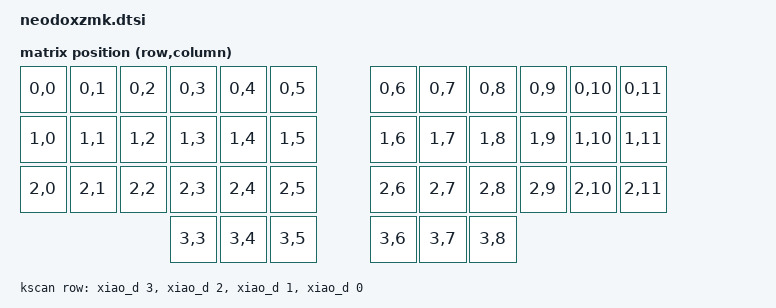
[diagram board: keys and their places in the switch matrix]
#include <dt-bindings/zmk/matrix_transform.h>

#include "neodoxzmk-layouts.dtsi"

// Pinout per NeodoxHW v1.1 (both halves wired identically, COL1 = innermost column):
//   ROW1 D3, ROW2 D2, ROW3 D1, ROW4 D0 (thumbs, COL1-COL3 only)
//   COL1 D7, COL2 D8, COL3 D9, COL4 D10, COL5 D6, COL6 NFC2 (P0.10)
//   I2C header: SDA D4, SCL D5, INT1 NFC1 (P0.09)

/ {
    chosen {
        zmk,kscan = &kscan;
        zmk,matrix_transform = &default_transform;
        zmk,physical-layout = &default_layout;
    };

    kscan: kscan {
        compatible = "zmk,kscan-gpio-matrix";
        diode-direction = "col2row";
        wakeup-source;

        row-gpios
            = <&xiao_d 3 (GPIO_ACTIVE_HIGH | GPIO_PULL_DOWN)>
            , <&xiao_d 2 (GPIO_ACTIVE_HIGH | GPIO_PULL_DOWN)>
            , <&xiao_d 1 (GPIO_ACTIVE_HIGH | GPIO_PULL_DOWN)>
            , <&xiao_d 0 (GPIO_ACTIVE_HIGH | GPIO_PULL_DOWN)>
            ;
    };

    default_transform: default_transform {
        compatible = "zmk,matrix-transform";
        columns = <12>;
        rows = <4>;
// Left columns 0-5 = COL6..COL1, right columns 6-11 = COL1..COL6
// | SW42 | SW39 | SW36 | SW32 | SW28 | SW24 |   | SW1  | SW2  | SW3  | SW4  | SW5  | SW6  |
// | SW43 | SW40 | SW37 | SW33 | SW29 | SW25 |   | SW7  | SW8  | SW9  | SW10 | SW11 | SW12 |
// | SW44 | SW41 | SW38 | SW34 | SW30 | SW26 |   | SW13 | SW14 | SW15 | SW16 | SW17 | SW18 |
//                      | SW35 | SW31 | SW27 |   | SW19 | SW20 | SW21 |
        map = <
RC(0,0) RC(0,1) RC(0,2) RC(0,3) RC(0,4) RC(0,5)                 RC(0,6) RC(0,7) RC(0,8) RC(0,9) RC(0,10) RC(0,11)
RC(1,0) RC(1,1) RC(1,2) RC(1,3) RC(1,4) RC(1,5)                 RC(1,6) RC(1,7) RC(1,8) RC(1,9) RC(1,10) RC(1,11)
RC(2,0) RC(2,1) RC(2,2) RC(2,3) RC(2,4) RC(2,5)                 RC(2,6) RC(2,7) RC(2,8) RC(2,9) RC(2,10) RC(2,11)
                        RC(3,3) RC(3,4) RC(3,5)                 RC(3,6) RC(3,7) RC(3,8)
        >;
    };
};
